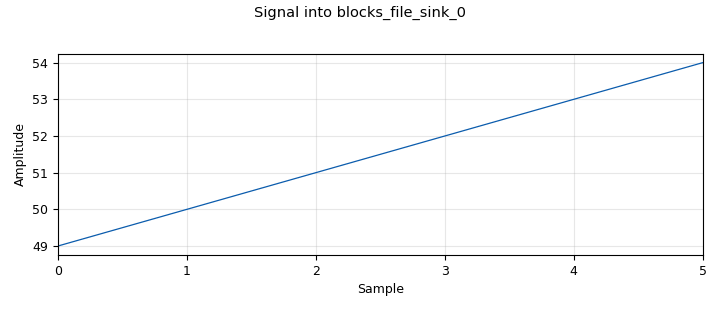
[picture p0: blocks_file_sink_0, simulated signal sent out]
options:
  parameters:
    author: pmain
    generate_options: qt_gui
    id: mux
    output_language: python
    title: Not titled yet
  states: {}

blocks:
- name: samp_rate
  id: variable
  parameters:
    value: '32000'
  states: {}
- name: blocks_file_sink_0
  id: blocks_file_sink
  parameters:
    file: C:\Users\pmain\StreamMuxData
    type: byte
  states: {}
- name: blocks_stream_mux_0
  id: blocks_stream_mux
  parameters:
    lengths: (4, 2)
    type: byte
  states: {}
- name: blocks_throttle2_0
  id: blocks_throttle2
  parameters:
    samples_per_second: samp_rate
    type: byte
  states: {}
- name: blocks_vector_source_x_0
  id: blocks_vector_source_x
  parameters:
    repeat: 'False'
    type: byte
    vector: (49, 50,51,52)
  states: {}
- name: blocks_vector_source_x_1
  id: blocks_vector_source_x
  parameters:
    repeat: 'False'
    type: byte
    vector: (53,54)
  states: {}

connections:
- [blocks_stream_mux_0, '0', blocks_throttle2_0, '0']
- [blocks_throttle2_0, '0', blocks_file_sink_0, '0']
- [blocks_vector_source_x_0, '0', blocks_stream_mux_0, '0']
- [blocks_vector_source_x_1, '0', blocks_stream_mux_0, '1']

metadata:
  file_format: 1
  grc_version: 3.10.12.0
